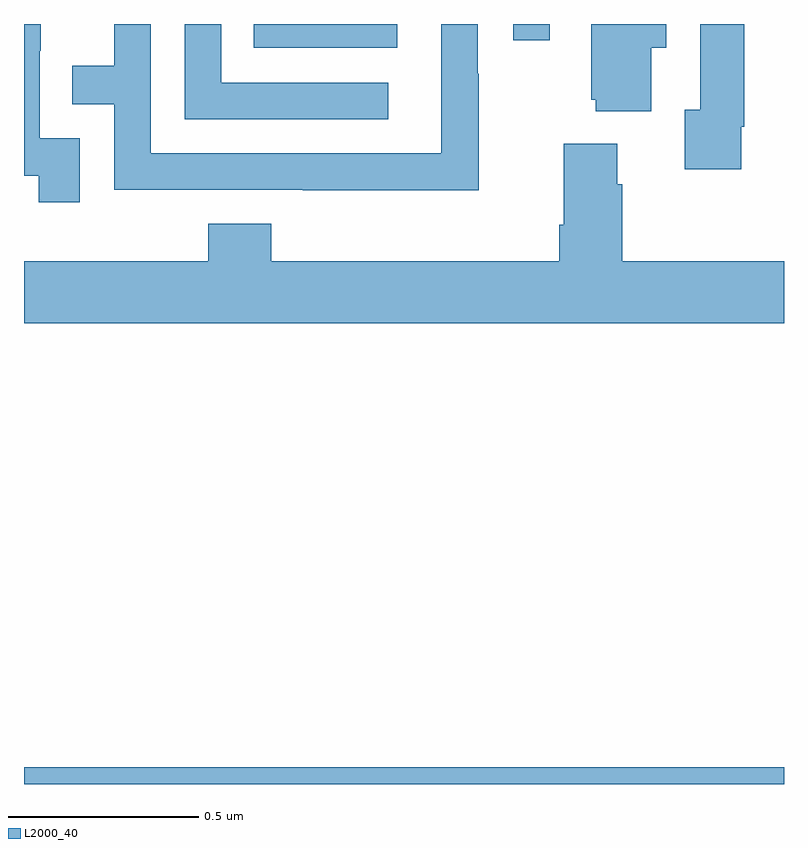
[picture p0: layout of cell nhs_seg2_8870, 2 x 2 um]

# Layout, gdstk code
import gdstk
lib = gdstk.Library(unit=1e-6, precision=1e-09)
def R(c, l, rs):  # rectangles x0, y0, x1, y1
    for r in rs: c.add(gdstk.rectangle(r[:2], r[2:], *l))
def P(c, l, *ps):  # polygons
    for p in ps: c.add(gdstk.Polygon(p, *l))
L2000_40 = (2000, 40)

nhs_seg2_8870 = lib.new_cell('nhs_seg2_8870')
R(nhs_seg2_8870, L2000_40, [(222,603.8,224,603.844), (222.604,605.738,222.982,605.8), (223.287,605.757,223.383,605.8)])
P(nhs_seg2_8870, L2000_40, [(223.888,605.53),(223.895,605.53),(223.895,605.8),(223.779,605.8),(223.779,605.574),(223.739,605.574),(223.739,605.418),(223.888,605.418)],
  [(223.197,605.669),(223.194,605.669),(223.194,605.8),(223.098,605.8),(223.098,605.46),(222.333,605.46),(222.333,605.8),(222.237,605.8),(222.237,605.69),(222.127,605.69),(222.127,605.589),(222.237,605.589),(222.237,605.364),(222.733,605.364),(222.733,605.363),(223.197,605.363)],
  [(223.651,605.738),(223.69,605.738),(223.69,605.8),(223.493,605.8),(223.493,605.601),(223.505,605.601),(223.505,605.57),(223.651,605.57)],
  [(222.147,605.499),(222.042,605.499),(222.042,605.729),(222.044,605.729),(222.044,605.8),(222,605.8),(222,605.401),(222.039,605.401),(222.039,605.331),(222.147,605.331)],
  [(222.958,605.646),(222.519,605.646),(222.519,605.8),(222.423,605.8),(222.423,605.55),(222.958,605.55)],
  [(224,605.176),(223.574,605.176),(223.574,605.378),(223.561,605.378),(223.561,605.485),(223.421,605.485),(223.421,605.272),(223.409,605.272),(223.409,605.176),(222.65,605.176),(222.65,605.275),(222.485,605.275),(222.485,605.176),(222,605.176),(222,605.012),(224,605.012)])

lib.write_gds('nhs_seg2_8870.gds')
